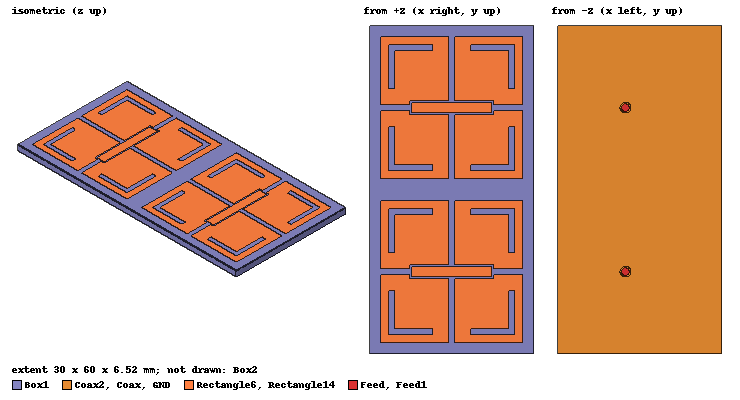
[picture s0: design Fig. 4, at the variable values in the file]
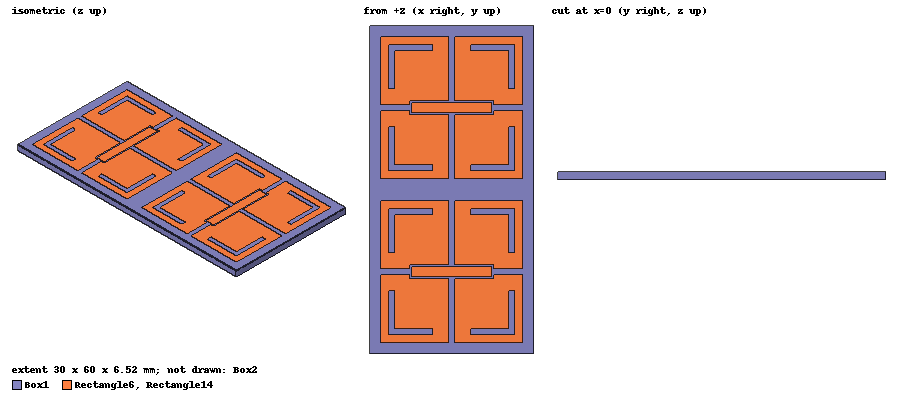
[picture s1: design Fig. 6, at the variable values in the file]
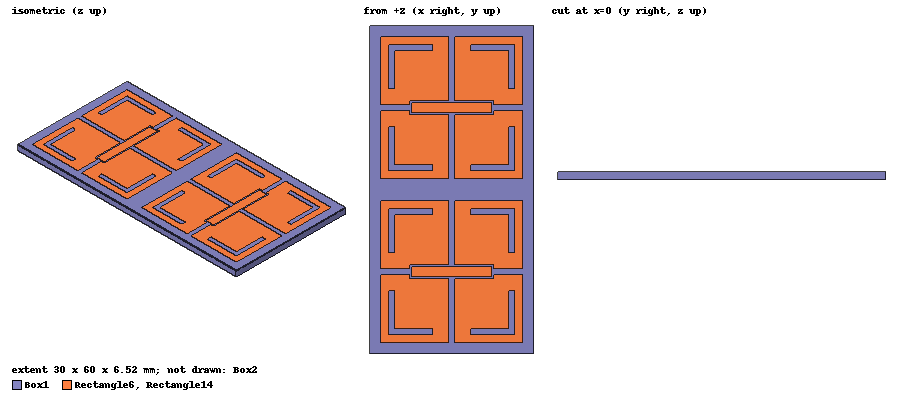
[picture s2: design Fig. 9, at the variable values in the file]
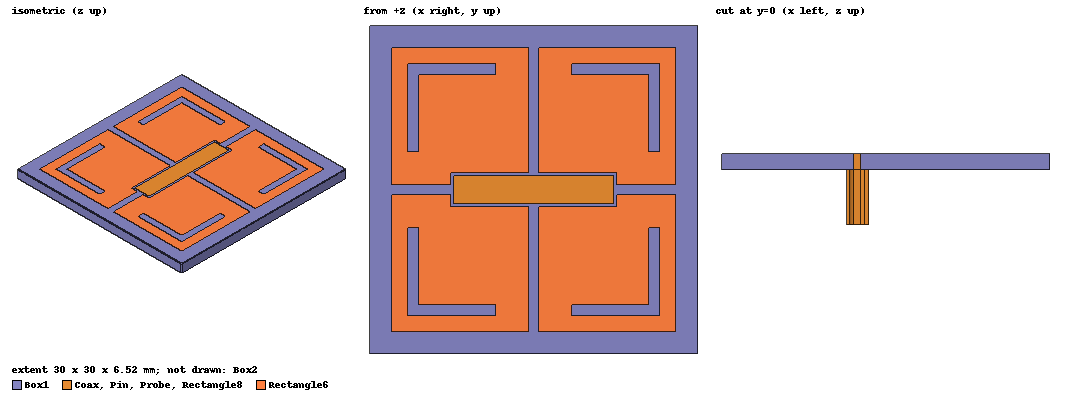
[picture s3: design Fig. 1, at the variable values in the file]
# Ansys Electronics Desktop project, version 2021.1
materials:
  vacuum: permittivity=1
  Taconic RF-35 (tm): permittivity=3.5 dielectric_loss_tangent=0.0018
  copper: permeability=0.999991 conductivity=58000000

design Fig. 4 (HFSS, DrivenModal, model units mm)
options: Save_Adaptive_support_files
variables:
  Ws = 30mm
  Hs = (1.52/2) mm
  Wp = 2mm
  G = 2.6mm
  Lc = 8.6mm
  Hair = 0mm
  Ha = 0mm
  P = 13.5mm
  Wo = 12.5mm
  Hs1 = (1.52/2) mm
  Wo1 = Wo
  S = 1mm
  Bo = 20mm
  Lp = 14.6mm
  gap = 0.3mm
  t = 1.5mm
  lcut = 8mm
  wcut = 1mm
  rot = 0deg
  de = 30mm
  Ls = Ws+de
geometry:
  GND = rectangle(corner=(-Ws/2, -Ws/2, 0mm), x_size=Ws, y_size=Ls)
  Box1 [Taconic RF-35 (tm)] = box(corner=(-Ws/2, -Ws/2, Hair), size=(Ws, Ls, Hs))
  Coax [copper] = cylinder(axis=Z, base_centre=(G, 0mm, 0mm), radius=1mm, height=-5mm)
  Coax1 = cylinder(axis=Z, base_centre=(G, 0mm, 0mm), radius=0.7mm, height=-5mm)
  Pin = cylinder(axis=Z, base_centre=(G, 0mm, Hair), radius=0.3mm, height=-Hair-5mm)
  Coax.subtract(Coax1)
  Probe = cylinder(axis=Z, base_centre=(G, 0mm, Hair), radius=0.3mm, height=Hs+Hs)
  Feed = circle(normal=Z, centre=(G, 0mm, -5mm), radius=0.7mm)
  Box2 [vacuum] = box(corner=(-Ws/2-Bo, -Ws/2-Bo, -Bo), size=(Ws+2*Bo, Ls+2*Bo, 2*Hs+Hair+Ha+2*Bo))
  Circle1 = circle(normal=Z, centre=(G, 0mm, 0mm), radius=0.7mm)
  GND.subtract(Circle1)
  Box3 = box(corner=(-Ws/2, -Ws/2, Hair+Hs+Ha), size=(Ws, Ls, Hs1))
  Rectangle6 = rectangle(corner=(-Wo/2, -Wo/2, Hs+Hs1+Hair+Ha), x_size=Wo, y_size=Wo)
  Rectangle6.move(-P/2, -P/2, 0mm)
  Rectangle6_7, Rectangle6_8, Rectangle6_9 = Rectangle6.duplicate_around_axis(axis=Z, angle=90deg, total=4)
  Rectangle6.unite(Rectangle6_7, Rectangle6_8, Rectangle6_9)
  Rectangle8 = rectangle(corner=(-Lp/2, -Wp/2, Hs+Hs), x_size=Lp, y_size=Wp)
  Box1.unite(Box3)
  Rectangle9 = rectangle(corner=(-Lp/2-gap, -Wp/2-gap, Hs+Hs), x_size=Lp+2*gap, y_size=Wp+2*gap)
  Rectangle6.subtract(Rectangle9)
  Rectangle12 = rectangle(corner=(-Wo/2+t, -Wo/2+t, Hs+Hs1+Hair+Ha), x_size=lcut, y_size=wcut)
  Rectangle13 = rectangle(corner=(-Wo/2+t, -Wo/2+t, Hs+Hs1+Hair+Ha), x_size=wcut, y_size=lcut)
  Rectangle12.unite(Rectangle13)
  Rectangle12.move(-P/2, -P/2, 0mm)
  Rectangle12_1, Rectangle12_2, Rectangle12_3 = Rectangle12.duplicate_around_axis(axis=Z, angle=90deg, total=4)
  Rectangle6.subtract(Rectangle12, Rectangle12_1, Rectangle12_2, Rectangle12_3)
  Rectangle6.unite(Rectangle8)
  Rectangle14 = rectangle(corner=(-Wo/2, -Wo/2, Hs+Hs1+Hair+Ha), x_size=Wo, y_size=Wo)
  Rectangle14.move(-P/2, -P/2, 0mm)
  Rectangle6_10, Rectangle6_11, Rectangle6_12 = Rectangle14.duplicate_around_axis(axis=Z, angle=90deg, total=4)
  Rectangle14.unite(Rectangle6_10, Rectangle6_11, Rectangle6_12)
  Rectangle16 = rectangle(corner=(-Lp/2-gap, -Wp/2-gap, Hs+Hs), x_size=Lp+2*gap, y_size=Wp+2*gap)
  Rectangle14.subtract(Rectangle16)
  Rectangle17 = rectangle(corner=(-Wo/2+t, -Wo/2+t, Hs+Hs1+Hair+Ha), x_size=lcut, y_size=wcut)
  Rectangle18 = rectangle(corner=(-Wo/2+t, -Wo/2+t, Hs+Hs1+Hair+Ha), x_size=wcut, y_size=lcut)
  Rectangle17.unite(Rectangle18)
  Rectangle17.move(-P/2, -P/2, 0mm)
  Rectangle12_4, Rectangle12_5, Rectangle12_6 = Rectangle17.duplicate_around_axis(axis=Z, angle=90deg, total=4)
  Rectangle14.subtract(Rectangle17, Rectangle12_4, Rectangle12_5, Rectangle12_6)
  Rectangle15 = rectangle(corner=(-Lp/2, -Wp/2, Hs+Hs), x_size=Lp, y_size=Wp)
  Rectangle14.unite(Rectangle15)
  Rectangle14.rotate(axis=Z, angle=rot)
  Rectangle14.move(0mm, de, 0mm)
  Circle2 = circle(normal=Z, centre=(G, 0mm, 0mm), radius=0.7mm)
  Circle2.rotate(axis=Z, angle=rot)
  Circle2.move(0mm, de, 0mm)
  GND.subtract(Circle2)
  Coax.unite(Pin, Probe)
  Coax2 [copper] = cylinder(axis=Z, base_centre=(G, 0mm, 0mm), radius=1mm, height=-5mm)
  Coax3 = cylinder(axis=Z, base_centre=(G, 0mm, 0mm), radius=0.7mm, height=-5mm)
  Coax2.subtract(Coax3)
  Pin1 = cylinder(axis=Z, base_centre=(G, 0mm, Hair), radius=0.3mm, height=-Hair-5mm)
  Probe1 = cylinder(axis=Z, base_centre=(G, 0mm, Hair), radius=0.3mm, height=Hs+Hs)
  Coax2.unite(Pin1, Probe1)
  Coax2.rotate(axis=Z, angle=rot)
  Coax2.move(0mm, de, 0mm)
  Feed1 = circle(normal=Z, centre=(G, 0mm, -5mm), radius=0.7mm)
  Feed1.rotate(axis=Z, angle=rot)
  Feed1.move(0mm, de, 0mm)
  Coax4 = cylinder(axis=Z, base_centre=(G, 0mm, 0mm), radius=1mm, height=-5mm)
  Coax6 = cylinder(axis=Z, base_centre=(G, 0mm, 0mm), radius=0.7mm, height=-5mm)
  Coax4.subtract(Coax6)
  Pin2 = cylinder(axis=Z, base_centre=(G, 0mm, Hair), radius=0.3mm, height=-Hair-5mm)
  Probe2 = cylinder(axis=Z, base_centre=(G, 0mm, Hair), radius=0.3mm, height=Hs+Hs)
  Coax4.unite(Pin2, Probe2)
  Coax5 = cylinder(axis=Z, base_centre=(G, 0mm, 0mm), radius=1mm, height=-5mm)
  Coax7 = cylinder(axis=Z, base_centre=(G, 0mm, 0mm), radius=0.7mm, height=-5mm)
  Coax5.subtract(Coax7)
  Pin3 = cylinder(axis=Z, base_centre=(G, 0mm, Hair), radius=0.3mm, height=-Hair-5mm)
  Probe3 = cylinder(axis=Z, base_centre=(G, 0mm, Hair), radius=0.3mm, height=Hs+Hs)
  Coax5.unite(Pin3, Probe3)
  Coax5.rotate(axis=Z, angle=rot)
  Coax5.move(0mm, de, 0mm)
  Coax4.unite(Coax5)
  Box1.subtract(Coax4)
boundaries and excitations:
  FiniteCond1: Finite Conductivity Objects=GND UseMaterial Material=copper IsInternal
  Rad1: Radiation Objects=Box2
  FiniteCond3: Finite Conductivity Objects=Rectangle6 UseMaterial Material=copper IsInternal
  FiniteCond4: Finite Conductivity Objects=Rectangle14 UseMaterial Material=copper IsInternal
  1: Lumped Port Objects=Feed Modes{Mode1{IntLine{middle of Feed.edge(1 of 1) -> middle of Coax.edge(1 of 2)} CharImp=Zpi RenormImp=50ohm}} Impedance=50ohm
  2: Lumped Port Objects=Feed1 Modes{Mode1{IntLine{Feed1.vertex(1 of 1) -> Coax2.vertex(1 of 2)} CharImp=Zpi RenormImp=50ohm}} Impedance=50ohm
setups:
  Setup1: HfssDriven Frequency=4.62GHz MaxDeltaS=0.02 MaximumPasses=20 MinimumPasses=1 MinimumConvergedPasses=1 PercentRefinement=30 BasisOrder=1 PortAccuracy=2 IESolverType=ACA
    sweep Sweep: 4.4GHz to 5GHz step 0.02GHz; Type=Discrete SaveFields
  Setup2: HfssDriven Frequency=5.6GHz MaxDeltaS=0.02 MaximumPasses=20 MinimumPasses=1 MinimumConvergedPasses=1 PercentRefinement=30 BasisOrder=1 PortAccuracy=2 IESolverType=ACA
    sweep Sweep: 5.4GHz to 6.6GHz step 0.02GHz; Type=Discrete SaveFields
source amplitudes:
  1:1: 1W 0deg
  2:1: 0W 0deg
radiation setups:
  Infinite Sphere1: Infinite Sphere Theta=-180deg..180deg step 2deg Phi=-180deg..180deg step 2deg
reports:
  XY Plot 1: dB(S(1,1)), dB(S(2,1)) vs Freq on Setup1 : Sweep; dB(S(1,1)), dB(S(2,1)) vs Freq on Setup2 : Sweep; markers MY1 at y=-10
  4.6 GHz: dB(RealizedGainPhi), dB(RealizedGainTheta) vs Theta on Setup1 : Sweep, Infinite Sphere1 [Phi=0deg,90deg Freq=4.58GHz]; markers m1 at 0deg, m2 at -178deg
  Realized Gain Plot 1: dB(RealizedGainTotal) vs Freq on Setup1 : Sweep, Infinite Sphere1 [Phi=0deg Theta=0deg]; dB(RealizedGainTotal) vs Freq on Setup2 : Sweep, Infinite Sphere1 [Phi=0deg Theta=0deg]; dB(RealizedGainTotal) vs Freq on Setup1 : Sweep, Infinite Sphere1 [Phi=0deg Theta=180deg]; dB(RealizedGainTotal) vs Freq on Setup2 : Sweep, Infinite Sphere1 [Phi=0deg Theta=180deg]
  5.6 GHz: dB(RealizedGainPhi), dB(RealizedGainTheta) vs Theta on Setup2 : Sweep, Infinite Sphere1 [Phi=0deg,90deg Freq=5.6GHz]
  Gain Plot 2: dB(GainTotal) vs Phi, Theta on Setup1 : Sweep, Infinite Sphere1 [Freq=7.8GHz]

design Fig. 6 (HFSS, DrivenModal, model units mm)
options: Save_Adaptive_support_files
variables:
  Ws = 30mm
  Hs = (1.52/2) mm
  Wp = 2mm
  G = 2.6mm
  Lc = 8.6mm
  Hair = 0mm
  Ha = 0mm
  P = 13.5mm
  Wo = 12.5mm
  Hs1 = (1.52/2) mm
  Wo1 = Wo
  S = 1mm
  Bo = 20mm
  Lp = 14.6mm
  gap = 0.3mm
  t = 1.5mm
  lcut = 8mm
  wcut = 1mm
  rot = 0deg
  de = 30mm
  Ls = Ws+de
  rv = 0.2mm
  dv = 0.5mm
  dvv = 4.5mm
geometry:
  GND = rectangle(corner=(-Ws/2, -Ws/2, 0mm), x_size=Ws, y_size=Ls)
  Box1 [Taconic RF-35 (tm)] = box(corner=(-Ws/2, -Ws/2, Hair), size=(Ws, Ls, Hs))
  Coax [copper] = cylinder(axis=Z, base_centre=(G, 0mm, 0mm), radius=1mm, height=-5mm)
  Coax1 = cylinder(axis=Z, base_centre=(G, 0mm, 0mm), radius=0.7mm, height=-5mm)
  Pin = cylinder(axis=Z, base_centre=(G, 0mm, Hair), radius=0.3mm, height=-Hair-5mm)
  Coax.subtract(Coax1)
  Probe = cylinder(axis=Z, base_centre=(G, 0mm, Hair), radius=0.3mm, height=Hs+Hs)
  Feed = circle(normal=Z, centre=(G, 0mm, -5mm), radius=0.7mm)
  Box2 [vacuum] = box(corner=(-Ws/2-Bo, -Ws/2-Bo, -Bo), size=(Ws+2*Bo, Ls+2*Bo, 2*Hs+Hair+Ha+2*Bo))
  Circle1 = circle(normal=Z, centre=(G, 0mm, 0mm), radius=0.7mm)
  GND.subtract(Circle1)
  Box3 = box(corner=(-Ws/2, -Ws/2, Hair+Hs+Ha), size=(Ws, Ls, Hs1))
  Rectangle6 = rectangle(corner=(-Wo/2, -Wo/2, Hs+Hs1+Hair+Ha), x_size=Wo, y_size=Wo)
  Rectangle6.move(-P/2, -P/2, 0mm)
  Rectangle6_7, Rectangle6_8, Rectangle6_9 = Rectangle6.duplicate_around_axis(axis=Z, angle=90deg, total=4)
  Rectangle6.unite(Rectangle6_7, Rectangle6_8, Rectangle6_9)
  Rectangle8 = rectangle(corner=(-Lp/2, -Wp/2, Hs+Hs), x_size=Lp, y_size=Wp)
  Box1.unite(Box3)
  Rectangle9 = rectangle(corner=(-Lp/2-gap, -Wp/2-gap, Hs+Hs), x_size=Lp+2*gap, y_size=Wp+2*gap)
  Rectangle6.subtract(Rectangle9)
  Rectangle12 = rectangle(corner=(-Wo/2+t, -Wo/2+t, Hs+Hs1+Hair+Ha), x_size=lcut, y_size=wcut)
  Rectangle13 = rectangle(corner=(-Wo/2+t, -Wo/2+t, Hs+Hs1+Hair+Ha), x_size=wcut, y_size=lcut)
  Rectangle12.unite(Rectangle13)
  Rectangle12.move(-P/2, -P/2, 0mm)
  Rectangle12_1, Rectangle12_2, Rectangle12_3 = Rectangle12.duplicate_around_axis(axis=Z, angle=90deg, total=4)
  Rectangle6.subtract(Rectangle12, Rectangle12_1, Rectangle12_2, Rectangle12_3)
  Rectangle6.unite(Rectangle8)
  Rectangle14 = rectangle(corner=(-Wo/2, -Wo/2, Hs+Hs1+Hair+Ha), x_size=Wo, y_size=Wo)
  Rectangle14.move(-P/2, -P/2, 0mm)
  Rectangle6_10, Rectangle6_11, Rectangle6_12 = Rectangle14.duplicate_around_axis(axis=Z, angle=90deg, total=4)
  Rectangle14.unite(Rectangle6_10, Rectangle6_11, Rectangle6_12)
  Rectangle16 = rectangle(corner=(-Lp/2-gap, -Wp/2-gap, Hs+Hs), x_size=Lp+2*gap, y_size=Wp+2*gap)
  Rectangle14.subtract(Rectangle16)
  Rectangle17 = rectangle(corner=(-Wo/2+t, -Wo/2+t, Hs+Hs1+Hair+Ha), x_size=lcut, y_size=wcut)
  Rectangle18 = rectangle(corner=(-Wo/2+t, -Wo/2+t, Hs+Hs1+Hair+Ha), x_size=wcut, y_size=lcut)
  Rectangle17.unite(Rectangle18)
  Rectangle17.move(-P/2, -P/2, 0mm)
  Rectangle12_4, Rectangle12_5, Rectangle12_6 = Rectangle17.duplicate_around_axis(axis=Z, angle=90deg, total=4)
  Rectangle14.subtract(Rectangle17, Rectangle12_4, Rectangle12_5, Rectangle12_6)
  Rectangle15 = rectangle(corner=(-Lp/2, -Wp/2, Hs+Hs), x_size=Lp, y_size=Wp)
  Rectangle14.unite(Rectangle15)
  Rectangle14.rotate(axis=Z, angle=rot)
  Rectangle14.move(0mm, de, 0mm)
  Circle2 = circle(normal=Z, centre=(G, 0mm, 0mm), radius=0.7mm)
  Circle2.rotate(axis=Z, angle=rot)
  Circle2.move(0mm, de, 0mm)
  GND.subtract(Circle2)
  Coax.unite(Pin, Probe)
  Coax2 [copper] = cylinder(axis=Z, base_centre=(G, 0mm, 0mm), radius=1mm, height=-5mm)
  Coax3 = cylinder(axis=Z, base_centre=(G, 0mm, 0mm), radius=0.7mm, height=-5mm)
  Coax2.subtract(Coax3)
  Pin1 = cylinder(axis=Z, base_centre=(G, 0mm, Hair), radius=0.3mm, height=-Hair-5mm)
  Probe1 = cylinder(axis=Z, base_centre=(G, 0mm, Hair), radius=0.3mm, height=Hs+Hs)
  Coax2.unite(Pin1, Probe1)
  Coax2.rotate(axis=Z, angle=rot)
  Coax2.move(0mm, de, 0mm)
  Feed1 = circle(normal=Z, centre=(G, 0mm, -5mm), radius=0.7mm)
  Feed1.rotate(axis=Z, angle=rot)
  Feed1.move(0mm, de, 0mm)
  Coax4 = cylinder(axis=Z, base_centre=(G, 0mm, 0mm), radius=1mm, height=-5mm)
  Coax6 = cylinder(axis=Z, base_centre=(G, 0mm, 0mm), radius=0.7mm, height=-5mm)
  Coax4.subtract(Coax6)
  Pin2 = cylinder(axis=Z, base_centre=(G, 0mm, Hair), radius=0.3mm, height=-Hair-5mm)
  Probe2 = cylinder(axis=Z, base_centre=(G, 0mm, Hair), radius=0.3mm, height=Hs+Hs)
  Coax4.unite(Pin2, Probe2)
  Coax5 = cylinder(axis=Z, base_centre=(G, 0mm, 0mm), radius=1mm, height=-5mm)
  Coax7 = cylinder(axis=Z, base_centre=(G, 0mm, 0mm), radius=0.7mm, height=-5mm)
  Coax5.subtract(Coax7)
  Pin3 = cylinder(axis=Z, base_centre=(G, 0mm, Hair), radius=0.3mm, height=-Hair-5mm)
  Probe3 = cylinder(axis=Z, base_centre=(G, 0mm, Hair), radius=0.3mm, height=Hs+Hs)
  Coax5.unite(Pin3, Probe3)
  Coax5.rotate(axis=Z, angle=rot)
  Coax5.move(0mm, de, 0mm)
  Coax4.unite(Coax5)
  Box1.subtract(Coax4)
  Cylinder1 [copper] = cylinder(axis=Z, base_centre=(0mm, 0mm, 0mm), radius=rv, height=2*Hs)
  Cylinder1.move(-P+(P-Wo)/2+dvv, P-(P-Wo)/2-dv, 0mm)
  coordinate_system RelativeCS1 = origin=(0mm, de/2, 0mm) x=(1mm, 0mm, 0mm) y=(0mm, 1mm, 0mm)
  Cylinder1_1 = Cylinder1.duplicate_mirror(point=(-16mm, 0mm, 0mm), normal=(0mm, 1mm, 0mm)) in RelativeCS1
  Cylinder1.unite(Cylinder1_1)
  Cylinder1_2 = Cylinder1.duplicate_mirror(point=(0mm, 32mm, 0mm), normal=(1mm, 0mm, 0mm)) in RelativeCS1
  Cylinder1.unite(Cylinder1_2)
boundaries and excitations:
  FiniteCond1: Finite Conductivity Objects=GND UseMaterial Material=copper IsInternal
  Rad1: Radiation Objects=Box2
  FiniteCond3: Finite Conductivity Objects=Rectangle6 UseMaterial Material=copper IsInternal
  FiniteCond4: Finite Conductivity Objects=Rectangle14 UseMaterial Material=copper IsInternal
  1: Lumped Port Objects=Feed Modes{Mode1{IntLine{middle of Feed.edge(1 of 1) -> middle of Coax.edge(1 of 2)} CharImp=Zpi RenormImp=50ohm}} Impedance=50ohm
  2: Lumped Port Objects=Feed1 Modes{Mode1{IntLine{Feed1.vertex(1 of 1) -> Coax2.vertex(1 of 2)} CharImp=Zpi RenormImp=50ohm}} Impedance=50ohm
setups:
  Setup1: HfssDriven Frequency=4.62GHz MaxDeltaS=0.02 MaximumPasses=20 MinimumPasses=1 MinimumConvergedPasses=1 PercentRefinement=30 BasisOrder=1 PortAccuracy=2 IESolverType=ACA
    sweep Sweep: 4.4GHz to 5GHz step 0.02GHz; Type=Discrete SaveFields
  Setup2: HfssDriven Frequency=5.6GHz MaxDeltaS=0.02 MaximumPasses=20 MinimumPasses=1 MinimumConvergedPasses=1 PercentRefinement=30 BasisOrder=1 PortAccuracy=2 IESolverType=ACA
    sweep Sweep: 5.4GHz to 6GHz step 0.02GHz; Type=Discrete SaveFields
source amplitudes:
  1:1: 1W 0deg
  2:1: 0W 0deg
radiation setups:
  Infinite Sphere1: Infinite Sphere Theta=-180deg..180deg step 2deg Phi=-180deg..180deg step 2deg
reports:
  XY Plot 1: dB(S(1,1)) vs Freq on Setup1 : Sweep; dB(S(1,1)) vs Freq on Setup2 : Sweep; dB(S(2,1)) vs Freq on Setup1 : Sweep [dvv=all]; dB(S(2,1)) vs Freq on Setup2 : Sweep [dvv=all]
  4.6 GHz: dB(RealizedGainPhi), dB(RealizedGainTheta) vs Theta on Setup1 : Sweep, Infinite Sphere1 [Phi=0deg,90deg Freq=4.58GHz]; markers m1 at 0deg, m2 at -178deg
  Realized Gain Plot 1: dB(RealizedGainTotal) vs Freq on Setup1 : Sweep, Infinite Sphere1 [Phi=0deg Theta=0deg]; dB(RealizedGainTotal) vs Freq on Setup2 : Sweep, Infinite Sphere1 [Phi=0deg Theta=0deg]
  5.6 GHz: dB(RealizedGainPhi), dB(RealizedGainTheta) vs Theta on Setup2 : Sweep, Infinite Sphere1 [Phi=0deg,90deg Freq=5.6GHz]
  Gain Plot 2: dB(GainTotal) vs Phi, Theta on Setup1 : Sweep, Infinite Sphere1 [Freq=7.8GHz]

design Fig. 9 (HFSS, DrivenModal, model units mm)
options: Save_Adaptive_support_files
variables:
  Ws = 30mm
  Hs = (1.52/2) mm
  Wp = 2mm
  G = 2.6mm
  Lc = 8.6mm
  Hair = 0mm
  Ha = 0mm
  P = 13.5mm
  Wo = 12.5mm
  Hs1 = (1.52/2) mm
  Wo1 = Wo
  S = 1mm
  Bo = 20mm
  Lp = 14.6mm
  gap = 0.3mm
  t = 1.5mm
  lcut = 8mm
  wcut = 1mm
  rot = 0deg
  de = 30mm
  Ls = Ws+de
  rv = 0.2mm
  dv = 0.5mm
  rv1 = 0.2mm
  dv1 = dv
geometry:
  GND = rectangle(corner=(-Ws/2, -Ws/2, 0mm), x_size=Ws, y_size=Ls)
  Box1 [Taconic RF-35 (tm)] = box(corner=(-Ws/2, -Ws/2, Hair), size=(Ws, Ls, Hs))
  Coax [copper] = cylinder(axis=Z, base_centre=(G, 0mm, 0mm), radius=1mm, height=-5mm)
  Coax1 = cylinder(axis=Z, base_centre=(G, 0mm, 0mm), radius=0.7mm, height=-5mm)
  Pin = cylinder(axis=Z, base_centre=(G, 0mm, Hair), radius=0.3mm, height=-Hair-5mm)
  Coax.subtract(Coax1)
  Probe = cylinder(axis=Z, base_centre=(G, 0mm, Hair), radius=0.3mm, height=Hs+Hs)
  Feed = circle(normal=Z, centre=(G, 0mm, -5mm), radius=0.7mm)
  Box2 [vacuum] = box(corner=(-Ws/2-Bo, -Ws/2-Bo, -Bo), size=(Ws+2*Bo, Ls+2*Bo, 2*Hs+Hair+Ha+2*Bo))
  Circle1 = circle(normal=Z, centre=(G, 0mm, 0mm), radius=0.7mm)
  GND.subtract(Circle1)
  Box3 = box(corner=(-Ws/2, -Ws/2, Hair+Hs+Ha), size=(Ws, Ls, Hs1))
  Rectangle6 = rectangle(corner=(-Wo/2, -Wo/2, Hs+Hs1+Hair+Ha), x_size=Wo, y_size=Wo)
  Rectangle6.move(-P/2, -P/2, 0mm)
  Rectangle6_7, Rectangle6_8, Rectangle6_9 = Rectangle6.duplicate_around_axis(axis=Z, angle=90deg, total=4)
  Rectangle6.unite(Rectangle6_7, Rectangle6_8, Rectangle6_9)
  Rectangle8 = rectangle(corner=(-Lp/2, -Wp/2, Hs+Hs), x_size=Lp, y_size=Wp)
  Box1.unite(Box3)
  Rectangle9 = rectangle(corner=(-Lp/2-gap, -Wp/2-gap, Hs+Hs), x_size=Lp+2*gap, y_size=Wp+2*gap)
  Rectangle6.subtract(Rectangle9)
  Rectangle12 = rectangle(corner=(-Wo/2+t, -Wo/2+t, Hs+Hs1+Hair+Ha), x_size=lcut, y_size=wcut)
  Rectangle13 = rectangle(corner=(-Wo/2+t, -Wo/2+t, Hs+Hs1+Hair+Ha), x_size=wcut, y_size=lcut)
  Rectangle12.unite(Rectangle13)
  Rectangle12.move(-P/2, -P/2, 0mm)
  Rectangle12_1, Rectangle12_2, Rectangle12_3 = Rectangle12.duplicate_around_axis(axis=Z, angle=90deg, total=4)
  Rectangle6.subtract(Rectangle12, Rectangle12_1, Rectangle12_2, Rectangle12_3)
  Rectangle6.unite(Rectangle8)
  Rectangle14 = rectangle(corner=(-Wo/2, -Wo/2, Hs+Hs1+Hair+Ha), x_size=Wo, y_size=Wo)
  Rectangle14.move(-P/2, -P/2, 0mm)
  Rectangle6_10, Rectangle6_11, Rectangle6_12 = Rectangle14.duplicate_around_axis(axis=Z, angle=90deg, total=4)
  Rectangle14.unite(Rectangle6_10, Rectangle6_11, Rectangle6_12)
  Rectangle16 = rectangle(corner=(-Lp/2-gap, -Wp/2-gap, Hs+Hs), x_size=Lp+2*gap, y_size=Wp+2*gap)
  Rectangle14.subtract(Rectangle16)
  Rectangle17 = rectangle(corner=(-Wo/2+t, -Wo/2+t, Hs+Hs1+Hair+Ha), x_size=lcut, y_size=wcut)
  Rectangle18 = rectangle(corner=(-Wo/2+t, -Wo/2+t, Hs+Hs1+Hair+Ha), x_size=wcut, y_size=lcut)
  Rectangle17.unite(Rectangle18)
  Rectangle17.move(-P/2, -P/2, 0mm)
  Rectangle12_4, Rectangle12_5, Rectangle12_6 = Rectangle17.duplicate_around_axis(axis=Z, angle=90deg, total=4)
  Rectangle14.subtract(Rectangle17, Rectangle12_4, Rectangle12_5, Rectangle12_6)
  Rectangle15 = rectangle(corner=(-Lp/2, -Wp/2, Hs+Hs), x_size=Lp, y_size=Wp)
  Rectangle14.unite(Rectangle15)
  Rectangle14.rotate(axis=Z, angle=rot)
  Rectangle14.move(0mm, de, 0mm)
  Circle2 = circle(normal=Z, centre=(G, 0mm, 0mm), radius=0.7mm)
  Circle2.rotate(axis=Z, angle=rot)
  Circle2.move(0mm, de, 0mm)
  GND.subtract(Circle2)
  Coax.unite(Pin, Probe)
  Coax2 [copper] = cylinder(axis=Z, base_centre=(G, 0mm, 0mm), radius=1mm, height=-5mm)
  Coax3 = cylinder(axis=Z, base_centre=(G, 0mm, 0mm), radius=0.7mm, height=-5mm)
  Coax2.subtract(Coax3)
  Pin1 = cylinder(axis=Z, base_centre=(G, 0mm, Hair), radius=0.3mm, height=-Hair-5mm)
  Probe1 = cylinder(axis=Z, base_centre=(G, 0mm, Hair), radius=0.3mm, height=Hs+Hs)
  Coax2.unite(Pin1, Probe1)
  Coax2.rotate(axis=Z, angle=rot)
  Coax2.move(0mm, de, 0mm)
  Feed1 = circle(normal=Z, centre=(G, 0mm, -5mm), radius=0.7mm)
  Feed1.rotate(axis=Z, angle=rot)
  Feed1.move(0mm, de, 0mm)
  Coax4 = cylinder(axis=Z, base_centre=(G, 0mm, 0mm), radius=1mm, height=-5mm)
  Coax6 = cylinder(axis=Z, base_centre=(G, 0mm, 0mm), radius=0.7mm, height=-5mm)
  Coax4.subtract(Coax6)
  Pin2 = cylinder(axis=Z, base_centre=(G, 0mm, Hair), radius=0.3mm, height=-Hair-5mm)
  Probe2 = cylinder(axis=Z, base_centre=(G, 0mm, Hair), radius=0.3mm, height=Hs+Hs)
  Coax4.unite(Pin2, Probe2)
  Coax5 = cylinder(axis=Z, base_centre=(G, 0mm, 0mm), radius=1mm, height=-5mm)
  Coax7 = cylinder(axis=Z, base_centre=(G, 0mm, 0mm), radius=0.7mm, height=-5mm)
  Coax5.subtract(Coax7)
  Pin3 = cylinder(axis=Z, base_centre=(G, 0mm, Hair), radius=0.3mm, height=-Hair-5mm)
  Probe3 = cylinder(axis=Z, base_centre=(G, 0mm, Hair), radius=0.3mm, height=Hs+Hs)
  Coax5.unite(Pin3, Probe3)
  Coax5.rotate(axis=Z, angle=rot)
  Coax5.move(0mm, de, 0mm)
  Coax4.unite(Coax5)
  Box1.subtract(Coax4)
  Cylinder1 [copper] = cylinder(axis=Z, base_centre=(0mm, 0mm, 0mm), radius=rv, height=2*Hs)
  Cylinder1.move(-P+(P-Wo)/2+dv, P-(P-Wo)/2-dv, 0mm)
  coordinate_system RelativeCS1 = origin=(0mm, de/2, 0mm) x=(1mm, 0mm, 0mm) y=(0mm, 1mm, 0mm)
  Cylinder1_1 = Cylinder1.duplicate_mirror(point=(-16mm, 0mm, 0mm), normal=(0mm, 1mm, 0mm)) in RelativeCS1
  Cylinder1.unite(Cylinder1_1)
  Cylinder1_2 = Cylinder1.duplicate_mirror(point=(0mm, 32mm, 0mm), normal=(1mm, 0mm, 0mm)) in RelativeCS1
  Cylinder1.unite(Cylinder1_2)
  Cylinder2 [copper] = cylinder(axis=Z, base_centre=(0mm, 0mm, 0mm), radius=rv1, height=2*Hs)
  Cylinder2.move(-(P-Wo)/2-dv1, P-(P-Wo)/2-dv1, 0mm)
  Cylinder2_1 = Cylinder2.duplicate_mirror(point=(0mm, 14mm, 0mm), normal=(1mm, 0mm, 0mm))
  Cylinder2.unite(Cylinder2_1)
  Cylinder2_2 = Cylinder2.duplicate_mirror(point=(-14mm, 0mm, 0mm), normal=(0mm, 1mm, 0mm)) in RelativeCS1
  Cylinder2.unite(Cylinder2_2)
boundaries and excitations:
  FiniteCond1: Finite Conductivity Objects=GND UseMaterial Material=copper IsInternal
  Rad1: Radiation Objects=Box2
  FiniteCond3: Finite Conductivity Objects=Rectangle6 UseMaterial Material=copper IsInternal
  FiniteCond4: Finite Conductivity Objects=Rectangle14 UseMaterial Material=copper IsInternal
  1: Lumped Port Objects=Feed Modes{Mode1{IntLine{middle of Feed.edge(1 of 1) -> middle of Coax.edge(1 of 2)} CharImp=Zpi RenormImp=50ohm}} Impedance=50ohm
  2: Lumped Port Objects=Feed1 Modes{Mode1{IntLine{Feed1.vertex(1 of 1) -> Coax2.vertex(1 of 2)} CharImp=Zpi RenormImp=50ohm}} Impedance=50ohm
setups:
  Setup1: HfssDriven Frequency=4.62GHz MaxDeltaS=0.02 MaximumPasses=20 MinimumPasses=1 MinimumConvergedPasses=1 PercentRefinement=30 BasisOrder=1 PortAccuracy=2 IESolverType=ACA
    sweep Sweep: 4.4GHz to 5GHz step 0.01GHz; Type=Discrete SaveFields
  Setup2: HfssDriven Frequency=5.6GHz MaxDeltaS=0.02 MaximumPasses=20 MinimumPasses=1 MinimumConvergedPasses=1 PercentRefinement=30 BasisOrder=1 PortAccuracy=2 IESolverType=ACA
    sweep Sweep: 5.4GHz to 6GHz step 0.01GHz; Type=Discrete SaveFields
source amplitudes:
  1:1: 1W 0deg
  2:1: 0W 0deg
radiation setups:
  Infinite Sphere1: Infinite Sphere Theta=-180deg..180deg step 2deg Phi=-180deg..180deg step 2deg
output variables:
  ECC = (mag(conjg(S(1,1))*S(1,2)+conjg(S(2,1))*S(2,2)))^2/((1-mag(S(1,1))^2-mag(S(2,1))^2)*(1-mag(S(2,2))^2-mag(S(1,2))^2))
  DG = 10*(sqrt(1-ECC^2))
  MEG1 = (1-(mag(S(1,1)))^2-(mag(S(1,2)))^2)/2
  MEG2 = (1-(mag(S(1,2)))^2-(mag(S(2,2)))^2)/2
  TARC = sqrt(((S(1,1)+S(1,2))^2+(S(2,1)+S(2,2))^2)/2)
  CCL = -ln((1 - (mag(S(1,1))^2 + mag(S(1,2))^2))*(1 - (mag(S(2,2))^2 + mag(S(2,1))^2)) - (conjg(S(2,2))*S(2,1) + conjg(S(1,2))*S(1,1))*(conjg(S(1,1))*S(1,2) + conjg(S(2,1))*S(2,2)))/ln(2)
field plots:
  Mag_Jsurf1: Jsurf over Rectangle14.face(all 5) Rectangle6.face(all 5) on Setup2 : Sweep at Freq=6.44GHz Phase=0deg
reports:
  XY Plot 1: dB(S(1,1)), dB(S(2,1)) vs Freq on Setup1 : Sweep; dB(S(1,1)), dB(S(2,1)) vs Freq on Setup2 : Sweep; markers m1 at 4.73GHz, m2 at 5.75GHz, MY1 at y=-10
  4.6 GHz: dB(RealizedGainPhi), dB(RealizedGainTheta) vs Theta on Setup1 : Sweep, Infinite Sphere1 [Phi=0deg,90deg Freq=4.64GHz]; markers m1 at 0deg, m2 at -178deg
  Realized Gain Plot 1: dB(RealizedGainTotal) vs Freq on Setup1 : Sweep, Infinite Sphere1 [Phi=0deg Theta=0deg]; dB(RealizedGainTotal) vs Freq on Setup2 : Sweep, Infinite Sphere1 [Phi=0deg Theta=0deg]
  5.6 GHz: dB(RealizedGainPhi), dB(RealizedGainTheta) vs Theta on Setup2 : Sweep, Infinite Sphere1 [Phi=0deg,90deg Freq=5.68GHz]
  Gain Plot 2: dB(GainTotal) vs Phi, Theta on Setup1 : Sweep, Infinite Sphere1 [Freq=7.8GHz]
  Antenna Params Plot 1: dB(PeakRealizedGain) vs Freq on Setup1 : Sweep; markers m1 at 4.68GHz
  ECC: ECC vs Freq on Setup1 : Sweep; ECC vs Freq on Setup2 : Sweep
  DG: DG vs Freq on Setup1 : Sweep; DG vs Freq on Setup2 : Sweep
  MEG: dB10(MEG1), dB10(MEG2) vs Freq on Setup1 : Sweep; dB10(MEG1), dB10(MEG2) vs Freq on Setup2 : Sweep
  TARC: dB20(TARC) vs Freq on Setup2 : Sweep; dB20(TARC) vs Freq on Setup1 : Sweep
  CCL: mag(CCL) vs Freq on Setup1 : Sweep; mag(CCL) vs Freq on Setup2 : Sweep
  Antenna Params Plot 2: RadiationEfficiency vs Freq on Setup1 : Sweep; RadiationEfficiency vs Freq on Setup2 : Sweep

design Fig. 1 (HFSS, DrivenModal, model units mm)
options: Save_Adaptive_support_files
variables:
  Ws = 30mm
  Hs = (1.52/2) mm
  Wp = 2.6mm
  G = 2.6mm
  Lc = 8.6mm
  Hair = 0mm
  Ha = 0mm
  P = 13.5mm
  Wo = 12.5mm
  Hs1 = (1.52/2) mm
  Wo1 = Wo
  S = 1mm
  Bo = 20mm
  Lp = 14.6mm
  gap = 0.3mm
  t = 1.5mm
  lcut = 8mm
  wcut = 1mm
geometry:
  GND = rectangle(corner=(-Ws/2, -Ws/2, 0mm), x_size=Ws, y_size=Ws)
  Box1 [Taconic RF-35 (tm)] = box(corner=(-Ws/2, -Ws/2, Hair), size=(Ws, Ws, Hs))
  Coax [copper] = cylinder(axis=Z, base_centre=(G, 0mm, 0mm), radius=1mm, height=-5mm)
  Coax1 = cylinder(axis=Z, base_centre=(G, 0mm, 0mm), radius=0.7mm, height=-5mm)
  Pin [copper] = cylinder(axis=Z, base_centre=(G, 0mm, Hair), radius=0.3mm, height=-Hair-5mm)
  Coax.subtract(Coax1)
  Probe [copper] = cylinder(axis=Z, base_centre=(G, 0mm, Hair), radius=0.3mm, height=Hs+Hs)
  Feed = circle(normal=Z, centre=(G, 0mm, -5mm), radius=0.7mm)
  Box2 [vacuum] = box(corner=(-Ws/2-Bo, -Ws/2-Bo, -Bo), size=(Ws+2*Bo, Ws+2*Bo, 2*Hs+Hair+Ha+2*Bo))
  Circle1 = circle(normal=Z, centre=(G, 0mm, 0mm), radius=0.7mm)
  GND.subtract(Circle1)
  Box3 = box(corner=(-Ws/2, -Ws/2, Hair+Hs+Ha), size=(Ws, Ws, Hs1))
  Rectangle6 = rectangle(corner=(-Wo/2, -Wo/2, Hs+Hs1+Hair+Ha), x_size=Wo, y_size=Wo)
  Rectangle6.move(-P/2, -P/2, 0mm)
  Rectangle6_7, Rectangle6_8, Rectangle6_9 = Rectangle6.duplicate_around_axis(axis=Z, angle=90deg, total=4)
  Rectangle6.unite(Rectangle6_7, Rectangle6_8, Rectangle6_9)
  Rectangle8 = rectangle(corner=(-Lp/2, -Wp/2, Hs+Hs), x_size=Lp, y_size=Wp)
  Box1.unite(Box3)
  Rectangle9 = rectangle(corner=(-Lp/2-gap, -Wp/2-gap, Hs+Hs), x_size=Lp+2*gap, y_size=Wp+2*gap)
  Rectangle6.subtract(Rectangle9)
  Rectangle12 = rectangle(corner=(-Wo/2+t, -Wo/2+t, Hs+Hs1+Hair+Ha), x_size=lcut, y_size=wcut)
  Rectangle13 = rectangle(corner=(-Wo/2+t, -Wo/2+t, Hs+Hs1+Hair+Ha), x_size=wcut, y_size=lcut)
  Rectangle12.unite(Rectangle13)
  Rectangle12.move(-P/2, -P/2, 0mm)
  Rectangle12_1, Rectangle12_2, Rectangle12_3 = Rectangle12.duplicate_around_axis(axis=Z, angle=90deg, total=4)
  Rectangle6.subtract(Rectangle12, Rectangle12_1, Rectangle12_2, Rectangle12_3)
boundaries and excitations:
  FiniteCond1: Finite Conductivity Objects=GND UseMaterial Material=copper IsInternal
  Rad1: Radiation Objects=Box2
  FiniteCond3: Finite Conductivity Objects=Rectangle6 UseMaterial Material=copper IsInternal
  FiniteCond4: Finite Conductivity Objects=Rectangle8 UseMaterial Material=copper IsInternal
  1: Lumped Port Objects=Feed Modes{Mode1{IntLine{middle of Feed.edge(1 of 1) -> middle of Pin.edge(1 of 2)} CharImp=Zpi RenormImp=50ohm}} Impedance=50ohm
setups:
  Setup1: HfssDriven Frequency=4.6GHz MaxDeltaS=0.02 MaximumPasses=20 MinimumPasses=1 MinimumConvergedPasses=1 PercentRefinement=30 BasisOrder=1 PortAccuracy=2 IESolverType=ACA
    sweep Sweep: 4GHz to 6GHz step 0.02GHz; Type=Discrete SaveFields
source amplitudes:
  1:1: 1W 0deg
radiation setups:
  Infinite Sphere1: Infinite Sphere Theta=-180deg..180deg step 2deg Phi=-180deg..180deg step 2deg
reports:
  XY Plot 1: dB(S(1,1)) vs Freq on Setup1 : Sweep; markers MY1 at y=-10
  4.56 GHz: dB(RealizedGainPhi), dB(RealizedGainTheta) vs Theta on Setup1 : Sweep, Infinite Sphere1 [Phi=0deg,90deg Freq=4.56GHz]; markers m1 at 0deg, m2 at -178deg
  Realized Gain Plot 1: dB(RealizedGainTotal) vs Freq on Setup1 : Sweep, Infinite Sphere1 [Phi=0deg Theta=0deg,180deg]
  Gain Plot 2: dB(GainTotal) vs Phi, Theta on Setup1 : Sweep, Infinite Sphere1 [Freq=7.8GHz]
  Gain Plot 3: dB(GainTotal) vs Phi, Theta on Setup1 : Sweep, Infinite Sphere1 [Freq=4.56GHz]
  Gain Plot 4: dB(GainTotal) vs Phi, Theta on Setup1 : Sweep, Infinite Sphere1 [Freq=5.6GHz]
  Realized Gain Plot 2: dB(RealizedGainPhi), dB(RealizedGainTheta) vs Theta on Setup1 : Sweep, Infinite Sphere1 [Phi=0deg,90deg Freq=5.6GHz]
